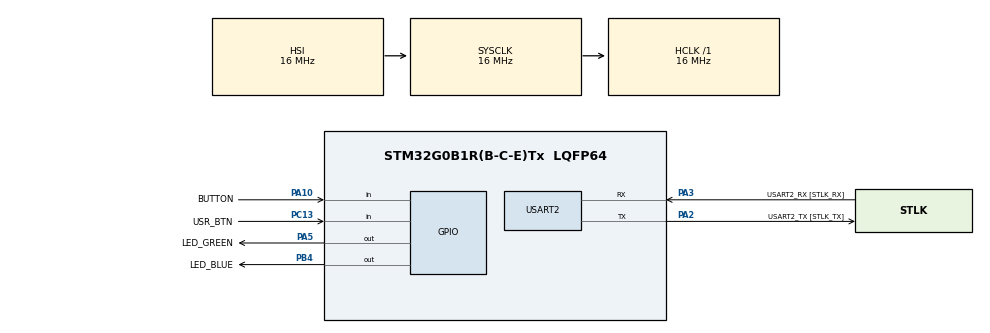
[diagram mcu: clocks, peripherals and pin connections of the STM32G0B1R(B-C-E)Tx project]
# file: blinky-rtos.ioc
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FREERTOS.Queues01=myEventQueue,16,uint8_t,0,Dynamic,NULL,NULL
FREERTOS.Tasks01=defaultTask,0,128,StartDefaultTask,Default,NULL,Dynamic,NULL,NULL;myLedTask,-2,128,vLedTask,Default,NULL,Dynamic,NULL,NULL;myButtonTask,-2,128,vButtonTask,Default,NULL,Dynamic,NULL,NULL
FREERTOS.configUSE_NEWLIB_REENTRANT=1
Mcu.Family=STM32G0
Mcu.Name=STM32G0B1R(B-C-E)Tx
Mcu.Package=LQFP64
NVIC.TIM6_DAC_LPTIM1_IRQn=true\:3\:0\:false\:false\:true\:false\:false\:true\:true
NVIC.TimeBase=TIM6_DAC_LPTIM1_IRQn
NVIC.TimeBaseIP=TIM6
PA10.GPIO_Label=BUTTON
PA10.GPIO_PuPd=GPIO_PULLDOWN
PA10.Signal=GPIO_Input
PA13.GPIO_Label=TMS
PA13.Mode=Serial_Wire
PA13.Signal=SYS_SWDIO
PA14-BOOT0.GPIO_Label=TCK
PA14-BOOT0.Mode=Serial_Wire
PA14-BOOT0.Signal=SYS_SWCLK
PA2.GPIO_Label=USART2_TX [STLK_TX]
PA2.Mode=Asynchronous
PA2.Signal=USART2_TX
PA3.GPIO_Label=USART2_RX [STLK_RX]
PA3.Mode=Asynchronous
PA3.Signal=USART2_RX
PA5.GPIO_Label=LED_GREEN
PA5.GPIO_Speed=GPIO_SPEED_FREQ_HIGH
PA5.Signal=GPIO_Output
PB4.GPIO_Label=LED_BLUE
PB4.Signal=GPIO_Output
PC13.GPIO_Label=USR_BTN
PC13.GPIO_PuPd=GPIO_PULLUP
PC13.Signal=GPIO_Input
PC14-OSC32_IN\ (PC14).Mode=LSE-External-Oscillator
PC14-OSC32_IN\ (PC14).Signal=RCC_OSC32_IN
PC15-OSC32_OUT\ (PC15).Mode=LSE-External-Oscillator
PC15-OSC32_OUT\ (PC15).Signal=RCC_OSC32_OUT
PF0-OSC_IN\ (PF0).GPIO_Label=MCO
PF0-OSC_IN\ (PF0).Mode=HSE-External-Clock-Source
PF0-OSC_IN\ (PF0).Signal=RCC_OSC_IN
ProjectManager.HeapSize=0x200
ProjectManager.StackSize=0x400
ProjectManager.TargetToolchain=STM32CubeIDE
RCC.AHBFreq_Value=16000000
RCC.CortexFreq_Value=16000000
RCC.EXTERNAL_CLOCK_VALUE=12288000
RCC.HCLKFreq_Value=16000000
RCC.HSE_VALUE=8000000
RCC.HSI48_VALUE=48000000
RCC.HSI_VALUE=16000000
RCC.SYSCLKFreq_VALUE=16000000
RCC.USBFreq_Value=48000000
RCC.VCOOutputFreq_Value=128000000
USART2.VirtualMode-Asynchronous=VM_ASYNC
VP_FREERTOS_VS_CMSIS_V1.Mode=CMSIS_V1
VP_SYS_VS_tim6.Mode=TIM6
board=NUCLEO-G0B1RE

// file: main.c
/* USER CODE BEGIN Header */
/**
  ******************************************************************************
  * @file           : main.c
  * @brief          : Main program body
  ******************************************************************************
  * @attention
  *
  * Copyright (c) 2022 STMicroelectronics.
  * All rights reserved.
  *
  * This software is licensed under terms that can be found in the LICENSE file
  * in the root directory of this software component.
  * If no LICENSE file comes with this software, it is provided AS-IS.
  *
  ******************************************************************************
  */
/* USER CODE END Header */
#include "main.h"
#include "cmsis_os.h"

/* USER CODE BEGIN PM */
#define BUTTON_PUSH_EVENT			1
#define BUTTON_RELEASE_EVENT	2

/* USER CODE END PM */

UART_HandleTypeDef huart2;

osThreadId defaultTaskHandle;
osThreadId myLedTaskHandle;
osThreadId myButtonTaskHandle;
osMessageQId myEventQueueHandle;

void SystemClock_Config(void);
static void MX_GPIO_Init(void);
static void MX_USART2_UART_Init(void);
void StartDefaultTask(void const * argument);
void vLedTask(void const * argument);
void vButtonTask(void const * argument);

int main(void)
{

  /* MCU Configuration--------------------------------------------------------*/

  /* Reset of all peripherals, Initializes the Flash interface and the Systick. */
  HAL_Init();

  /* Configure the system clock */
  SystemClock_Config();

  /* Initialize all configured peripherals */
  MX_GPIO_Init();
  MX_USART2_UART_Init();

  /* Create the queue(s) */
  /* definition and creation of myEventQueue */
  osMessageQDef(myEventQueue, 16, uint8_t);
  myEventQueueHandle = osMessageCreate(osMessageQ(myEventQueue), NULL);

  /* Create the thread(s) */
  /* definition and creation of defaultTask */
  osThreadDef(defaultTask, StartDefaultTask, osPriorityNormal, 0, 128);
  defaultTaskHandle = osThreadCreate(osThread(defaultTask), NULL);

  /* definition and creation of myLedTask */
  osThreadDef(myLedTask, vLedTask, osPriorityLow, 0, 128);
  myLedTaskHandle = osThreadCreate(osThread(myLedTask), NULL);

  /* definition and creation of myButtonTask */
  osThreadDef(myButtonTask, vButtonTask, osPriorityLow, 0, 128);
  myButtonTaskHandle = osThreadCreate(osThread(myButtonTask), NULL);

  /* Start scheduler */
  osKernelStart();

  /* We should never get here as control is now taken by the scheduler */
  /* Infinite loop */
  while (1)
  {

  }
}

void SystemClock_Config(void)
{
  RCC_OscInitTypeDef RCC_OscInitStruct = {0};
  RCC_ClkInitTypeDef RCC_ClkInitStruct = {0};

  /** Configure the main internal regulator output voltage
  */
  HAL_PWREx_ControlVoltageScaling(PWR_REGULATOR_VOLTAGE_SCALE1);

  /** Initializes the RCC Oscillators according to the specified parameters
  * in the RCC_OscInitTypeDef structure.
  */
  RCC_OscInitStruct.OscillatorType = RCC_OSCILLATORTYPE_HSI;
  RCC_OscInitStruct.HSIState = RCC_HSI_ON;
  RCC_OscInitStruct.HSIDiv = RCC_HSI_DIV1;
  RCC_OscInitStruct.HSICalibrationValue = RCC_HSICALIBRATION_DEFAULT;
  RCC_OscInitStruct.PLL.PLLState = RCC_PLL_NONE;
  if (HAL_RCC_OscConfig(&RCC_OscInitStruct) != HAL_OK)
  {
    Error_Handler();
  }

  /** Initializes the CPU, AHB and APB buses clocks
  */
  RCC_ClkInitStruct.ClockType = RCC_CLOCKTYPE_HCLK|RCC_CLOCKTYPE_SYSCLK
                              |RCC_CLOCKTYPE_PCLK1;
  RCC_ClkInitStruct.SYSCLKSource = RCC_SYSCLKSOURCE_HSI;
  RCC_ClkInitStruct.AHBCLKDivider = RCC_SYSCLK_DIV1;
  RCC_ClkInitStruct.APB1CLKDivider = RCC_HCLK_DIV1;

  if (HAL_RCC_ClockConfig(&RCC_ClkInitStruct, FLASH_LATENCY_0) != HAL_OK)
  {
    Error_Handler();
  }
}

static void MX_USART2_UART_Init(void)
{

  huart2.Instance = USART2;
  huart2.Init.BaudRate = 115200;
  huart2.Init.WordLength = UART_WORDLENGTH_8B;
  huart2.Init.StopBits = UART_STOPBITS_1;
  huart2.Init.Parity = UART_PARITY_NONE;
  huart2.Init.Mode = UART_MODE_TX_RX;
  huart2.Init.HwFlowCtl = UART_HWCONTROL_NONE;
  huart2.Init.OverSampling = UART_OVERSAMPLING_16;
  huart2.Init.OneBitSampling = UART_ONE_BIT_SAMPLE_DISABLE;
  huart2.Init.ClockPrescaler = UART_PRESCALER_DIV1;
  huart2.AdvancedInit.AdvFeatureInit = UART_ADVFEATURE_NO_INIT;
  if (HAL_UART_Init(&huart2) != HAL_OK)
  {
    Error_Handler();
  }
  if (HAL_UARTEx_SetTxFifoThreshold(&huart2, UART_TXFIFO_THRESHOLD_1_8) != HAL_OK)
  {
    Error_Handler();
  }
  if (HAL_UARTEx_SetRxFifoThreshold(&huart2, UART_RXFIFO_THRESHOLD_1_8) != HAL_OK)
  {
    Error_Handler();
  }
  if (HAL_UARTEx_DisableFifoMode(&huart2) != HAL_OK)
  {
    Error_Handler();
  }

}

static void MX_GPIO_Init(void)
{
  GPIO_InitTypeDef GPIO_InitStruct = {0};

  /* GPIO Ports Clock Enable */
  __HAL_RCC_GPIOC_CLK_ENABLE();
  __HAL_RCC_GPIOF_CLK_ENABLE();
  __HAL_RCC_GPIOA_CLK_ENABLE();
  __HAL_RCC_GPIOB_CLK_ENABLE();

  /*Configure GPIO pin Output Level */
  HAL_GPIO_WritePin(LED_GREEN_GPIO_Port, LED_GREEN_Pin, GPIO_PIN_RESET);

  /*Configure GPIO pin Output Level */
  HAL_GPIO_WritePin(LED_BLUE_GPIO_Port, LED_BLUE_Pin, GPIO_PIN_RESET);

  /*Configure GPIO pin : USR_BTN_Pin */
  GPIO_InitStruct.Pin = USR_BTN_Pin;
  GPIO_InitStruct.Mode = GPIO_MODE_INPUT;
  GPIO_InitStruct.Pull = GPIO_PULLUP;
  HAL_GPIO_Init(USR_BTN_GPIO_Port, &GPIO_InitStruct);

  /*Configure GPIO pin : LED_GREEN_Pin */
  GPIO_InitStruct.Pin = LED_GREEN_Pin;
  GPIO_InitStruct.Mode = GPIO_MODE_OUTPUT_PP;
  GPIO_InitStruct.Pull = GPIO_NOPULL;
  GPIO_InitStruct.Speed = GPIO_SPEED_FREQ_HIGH;
  HAL_GPIO_Init(LED_GREEN_GPIO_Port, &GPIO_InitStruct);

  /*Configure GPIO pin : BUTTON_Pin */
  GPIO_InitStruct.Pin = BUTTON_Pin;
  GPIO_InitStruct.Mode = GPIO_MODE_INPUT;
  GPIO_InitStruct.Pull = GPIO_PULLDOWN;
  HAL_GPIO_Init(BUTTON_GPIO_Port, &GPIO_InitStruct);

  /*Configure GPIO pin : LED_BLUE_Pin */
  GPIO_InitStruct.Pin = LED_BLUE_Pin;
  GPIO_InitStruct.Mode = GPIO_MODE_OUTPUT_PP;
  GPIO_InitStruct.Pull = GPIO_NOPULL;
  GPIO_InitStruct.Speed = GPIO_SPEED_FREQ_LOW;
  HAL_GPIO_Init(LED_BLUE_GPIO_Port, &GPIO_InitStruct);

}

void StartDefaultTask(void const * argument)
{
  for(;;)
  {
    osDelay(1);
  }
}

void vLedTask(void const * argument)
{
  /* USER CODE BEGIN vLedTask */
	osEvent event;
	uint8_t curr_data = 0;

  /* Infinite loop */
  for(;;)
  {
    osDelay(100);

    /*wait until kernel message*/
		event = osMessageGet(myEventQueueHandle, osWaitForever);

		/*if we are here, then receive message*/
		if (event.status == osEventMessage)
		{
			// get value
			curr_data = (uint8_t) event.value.v;

			if (curr_data == BUTTON_PUSH_EVENT)
				HAL_GPIO_WritePin(LED_BLUE_GPIO_Port, LED_BLUE_Pin, GPIO_PIN_SET);

			if (curr_data == BUTTON_RELEASE_EVENT)
				HAL_GPIO_WritePin(LED_BLUE_GPIO_Port, LED_BLUE_Pin, GPIO_PIN_RESET);
		}
  }
  /* USER CODE END vLedTask */
}

void vButtonTask(void const * argument)
{
  /* USER CODE BEGIN vButtonTask */
	uint8_t curr_data = 0;
	uint8_t prev_data = 0;

  /* Infinite loop */
	for(;;)
	{
		osDelay(100);
		curr_data = HAL_GPIO_ReadPin(BUTTON_GPIO_Port, BUTTON_Pin);

		if (curr_data == GPIO_PIN_RESET && prev_data == GPIO_PIN_SET)
			osMessagePut(myEventQueueHandle, (uint32_t) BUTTON_PUSH_EVENT, 5);

		if (curr_data == GPIO_PIN_SET && prev_data == GPIO_PIN_RESET)
			osMessagePut(myEventQueueHandle, (uint32_t) BUTTON_RELEASE_EVENT, 5);

    prev_data = curr_data;
	}
  /* USER CODE END vButtonTask */
}

void HAL_TIM_PeriodElapsedCallback(TIM_HandleTypeDef *htim)
{
  if (htim->Instance == TIM6) {
    HAL_IncTick();
  }
}

void Error_Handler(void)
{
  __disable_irq();
  while (1)
  {
  }
}
